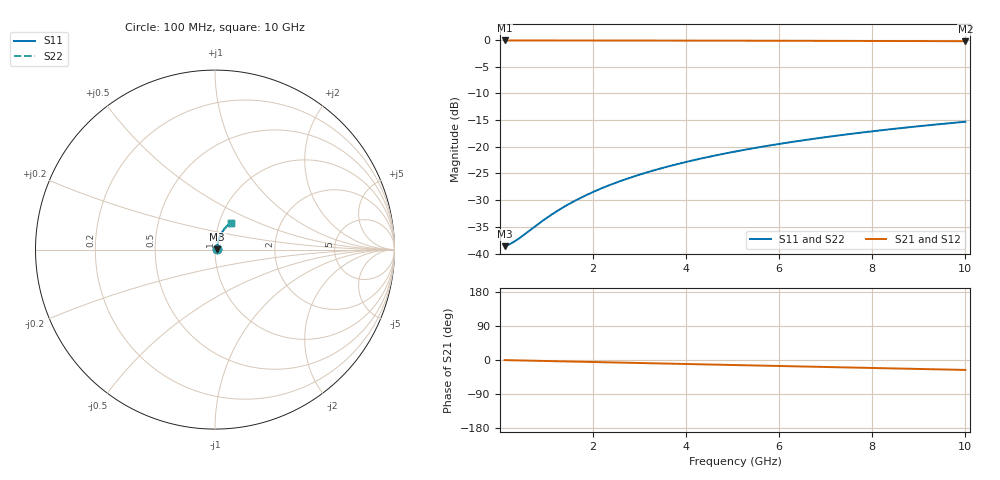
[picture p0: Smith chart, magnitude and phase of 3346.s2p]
# Hz S RI R 50.00
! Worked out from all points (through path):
!   100 points, 100 MHz to 10 GHz, reference 50 ohm
!   highest |S21| = -0.10 dB at 100 MHz (marker M1); lowest = -0.2 dB at 10 GHz (marker M2)
!   group delay of S21, straight-line fit = 7.29 ps
!   lowest |S11| = -38.6 dB at 100 MHz (marker M3), VSWR 1.02, Z = 51.2 + j0.178 ohm
!   |S11| at or under -10 dB: start of sweep to end of sweep
!   |S22| runs from -38.6 to -15.3 dB; largest |S21 - S12| = 0
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1e8  0.0116 0.00174  0.9884 -0.00456  0.9884 -0.00456  0.0116 0.00174
2e8  0.0117 0.00347  0.9883 -0.00913  0.9883 -0.00913  0.0117 0.00347
3e8  0.0118 0.00521  0.9881 -0.0137  0.9881 -0.0137  0.0118 0.00521
4e8  0.0119 0.00694  0.988 -0.0182  0.988 -0.0182  0.0119 0.00694
9e8  0.0126 0.0156  0.9871 -0.041  0.9871 -0.041  0.0126 0.0156
1.2e9  0.0132 0.0208  0.9862 -0.0547  0.9862 -0.0547  0.0132 0.0208
1.5e9  0.0139 0.0259  0.9852 -0.0683  0.9852 -0.0683  0.0139 0.0259
1.8e9  0.0147 0.0311  0.9839 -0.0819  0.9839 -0.0819  0.0147 0.0311
2.1e9  0.0157 0.0362  0.9825 -0.0955  0.9825 -0.0955  0.0157 0.0362
2.5e9  0.0172 0.0429  0.9802 -0.1136  0.9802 -0.1136  0.0172 0.0429
2.9e9  0.019 0.0496  0.9776 -0.1316  0.9776 -0.1316  0.019 0.0496
3.4e9  0.0215 0.0579  0.9738 -0.1539  0.9738 -0.1539  0.0215 0.0579
3.8e9  0.0238 0.0644  0.9703 -0.1717  0.9703 -0.1717  0.0238 0.0644
4.2e9  0.0264 0.0708  0.9664 -0.1895  0.9664 -0.1895  0.0264 0.0708
4.6e9  0.0291 0.0771  0.9622 -0.207  0.9622 -0.207  0.0291 0.0771
5.1e9  0.0329 0.0848  0.9565 -0.2289  0.9565 -0.2289  0.0329 0.0848
5.9e9  0.0397 0.0968  0.9461 -0.2634  0.9461 -0.2634  0.0397 0.0968
6.7e9  0.0473 0.1082  0.9344 -0.2973  0.9344 -0.2973  0.0473 0.1082
7.5e9  0.0557 0.119  0.9214 -0.3306  0.9214 -0.3306  0.0557 0.119
8.4e9  0.066 0.1303  0.9052 -0.3671  0.9052 -0.3671  0.066 0.1303
9.2e9  0.0759 0.1396  0.8895 -0.3988  0.8895 -0.3988  0.0759 0.1396
1e10  0.0864 0.1481  0.8727 -0.4297  0.8727 -0.4297  0.0864 0.1481
